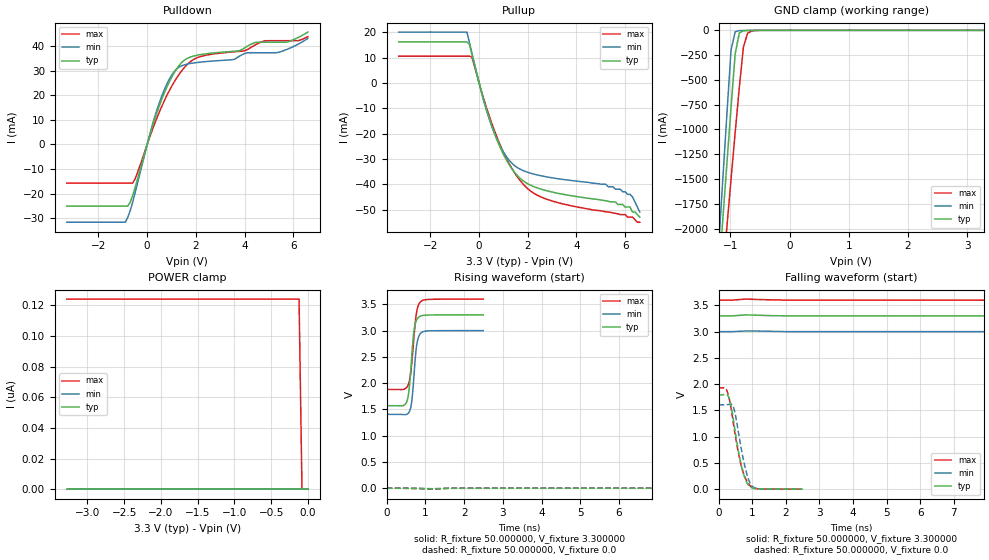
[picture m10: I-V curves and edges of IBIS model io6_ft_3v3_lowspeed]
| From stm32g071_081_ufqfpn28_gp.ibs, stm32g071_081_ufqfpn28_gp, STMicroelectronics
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|   Model io6_ft_3v3_lowspeed
[Model]  io6_ft_3v3_lowspeed
Model_type I/O
Polarity   Non-Inverting
Enable   Active-Low
Vinl =   0.990000V
Vinh =   2.310000V
Vmeas =  1.650000V
Cref =   30.000000pF
Rref =   100.000000M
Vref =   0.0V
C_comp   1.290400pF   1.272500pF   1.305600pF
[Temperature Range]   25.000000   -40.000000   0.125000k
[Pullup Reference]   3.300000V   3.000000V   3.600000V
[Pulldown Reference]   0.0V   0.0V   0.0V
[POWER Clamp Reference]   3.300000V   3.000000V   3.600000V
[GND Clamp Reference]   0.0V   0.0V   0.0V
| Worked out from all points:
|   slope of the pulldown table from 0 to 0.495 V, typ, clamps not added: 31.8 ohm
|   slope of the pullup table from 0 to 0.495 V, typ, clamps not added: 30.4 ohm
|   GND clamp passes 1 mA (typ) near -0.65 V on its own axis
|   rising waveform, R_fixture 50.000000, V_fixture 3.300000: 20-80 % time 115ps typ, 109ps min, 129ps max; typ from 1.57 V to 3.3 V
|   rising waveform, R_fixture 50.000000, V_fixture 0.0: 20-80 % time 45.6ns typ, 40.3ns min, 56.9ns max; typ from 0 V to 1.79 V
|   falling waveform, R_fixture 50.000000, V_fixture 3.300000: 20-80 % time 40.8ns typ, 40.3ns min, 43.5ns max; typ from 3.3 V to 1.57 V
|   falling waveform, R_fixture 50.000000, V_fixture 0.0: 20-80 % time 300ps typ, 289ps min, 332ps max; typ from 1.79 V to 0 V
[Pulldown]
|Voltage   I(typ)   I(min)   I(max)
-3.3V     -25.03mA   -31.54mA   -15.7mA
-900mV    -25.03mA   -31.54mA   -15.7mA
-700mV    -23.48mA   -26.96mA   -15.7mA
-500mV    -17.69mA   -19.75mA   -14.07mA
100mV     3.479mA    3.853mA    2.862mA
500mV     15.71mA    16.96mA    13.17mA
900mV     25.22mA    26.33mA    21.66mA
1.3V      31.91mA    31.32mA    28.29mA
2.2V      36.48mA    33.43mA    35.69mA
4.1V      39.78mA    37.21mA    38.43mA
5.4V      41.49mA    37.39mA    42.11mA
6.6V      45.6mA     43.04mA    43.74mA
[Pullup]
|Voltage   I(typ)   I(min)   I(max)
-3.3V     16.16mA    20.05mA    10.53mA
-500mV    16.16mA    20.05mA    10.53mA
-400mV    15.28mA    16.06mA    10.53mA
-300mV    11.46mA    11.98mA    10.27mA
400mV     -13.51mA   -13.75mA   -12.62mA
800mV     -24.01mA   -23.65mA   -23mA
1.3V      -33.26mA   -31.25mA   -32.99mA
1.9V      -39.28mA   -34.97mA   -40.88mA
2.6V      -42.11mA   -36.79mA   -45.26mA
5.8V      -48mA      -42mA      -52mA
6.3V      -51mA      -45mA      -53mA
6.6V      -53mA      -51mA      -55mA
[GND_clamp]
|Voltage   I(typ)   I(min)   I(max)
-3.3V     -9.61A     -9.635A    -9.699A
-1.2V     -2.493A    -2.184A    -2.958A
-1.13V    -1.917A    -1.512A    -2.469A
-1.06V    -1.345A    -845.6mA   -1.983A
-990mV    -779.8mA   -200.2mA   -1.503A
-920mV    -235.5mA   -14.18mA   -1.03A
-850mV    -26.06mA   -3.338mA   -574.2mA
-780mV    -4.499mA   -1.808mA   -166.4mA
-710mV    -1.722mA   -869.6uA   -29.45mA
-640mV    -806.7uA   -283.7uA   -6.281mA
3.28V     0A         0A         0A
[POWER_clamp]
|Voltage   I(typ)   I(min)   I(max)
-3.28V    0A         0A         124nA
-120mV    0A         0A         124nA
-80mV     0A         0A         0A
0V        0A         0A         0A
[Ramp]
| variable   typ   min   max
dV/dt_r  1.07520/45.58183n   0.96354/40.29803n   1.14348/56.81799n
dV/dt_f  1.03164/40.73684n   0.95298/40.26549n   1.02432/43.49873n
R_load = 50.000000
[Rising Waveform]
R_fixture= 50.000000
V_fixture= 3.300000
V_fixture_min= 3.000000
V_fixture_max= 3.600000
|time   V(typ)   V(min)   V(max)
0s        1.571V     1.406V     1.88V
435.4ps   1.575V     1.402V     1.882V
510.5ps   1.636V     1.405V     1.914V
560.6ps   1.779V     1.43V      1.978V
635.6ps   2.386V     1.596V     2.296V
700.7ps   2.967V     2.103V     2.847V
760.8ps   3.181V     2.645V     3.293V
820.8ps   3.253V     2.874V     3.486V
1.021ns   3.294V     2.991V     3.59V
2.492ns   3.3V       3V         3.6V
[Rising Waveform]
R_fixture= 50.000000
V_fixture= 0.0
V_fixture_min= 0.0
V_fixture_max= 0.0
|time   V(typ)   V(min)   V(max)
0s        2.755uV    5.207uV    127.5nV
10.81ns   6.35mV     200.9uV    17.69mV
16.82ns   84.46mV    49.78mV    93.32mV
44.84ns   869.5mV    831.9mV    762.8mV
54.85ns   1.115V     1.067V     1.002V
68.87ns   1.374V     1.298V     1.278V
86.49ns   1.58V      1.462V     1.534V
106.1ns   1.694V     1.545V     1.716V
125.7ns   1.747V     1.581V     1.814V
199.4ns   1.795V     1.607V     1.924V
[Falling Waveform]
R_fixture= 50.000000
V_fixture= 3.300000
V_fixture_min= 3.000000
V_fixture_max= 3.600000
|time   V(typ)   V(min)   V(max)
0s        3.3V       3V         3.6V
13.61ns   3.295V     3V         3.565V
19.22ns   3.244V     2.992V     3.475V
25.23ns   3.121V     2.929V     3.336V
60.86ns   2.14V      2.027V     2.419V
72.87ns   1.907V     1.78V      2.209V
82.88ns   1.79V      1.646V     2.101V
97.7ns    1.698V     1.541V     2.013V
119.3ns   1.634V     1.47V      1.949V
199.4ns   1.571V     1.406V     1.88V
[Falling Waveform]
R_fixture= 50.000000
V_fixture= 0.0
V_fixture_min= 0.0
V_fixture_max= 0.0
|time   V(typ)   V(min)   V(max)
0s        1.795V     1.607V     1.924V
250.2ps   1.798V     1.609V     1.87V
340.3ps   1.673V     1.619V     1.646V
435.4ps   1.338V     1.57V      1.271V
510.5ps   1.025V     1.379V     968.4mV
680.7ps   435.6mV    745.7mV    432.9mV
795.8ps   186.5mV    394.4mV    211.2mV
900.9ps   64.08mV    169mV      90.64mV
1.161ns   6.063mV    11.13mV    8.62mV
2.492ns   2.755uV    5.207uV    127.5nV
